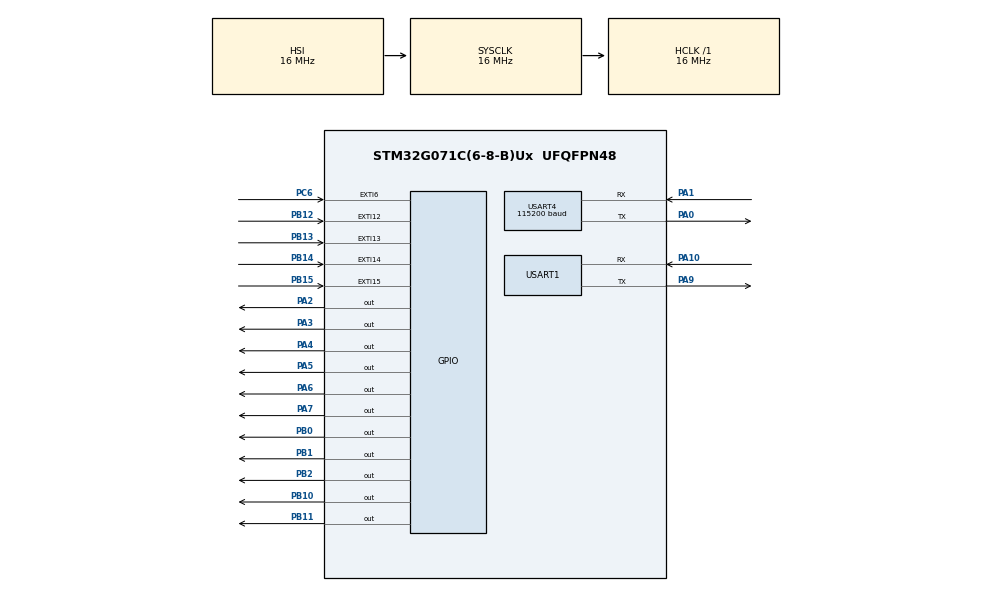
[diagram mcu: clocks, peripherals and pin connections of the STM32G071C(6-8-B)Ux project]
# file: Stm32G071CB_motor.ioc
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Dma.Request0=USART1_RX
Dma.Request1=USART4_RX
Dma.USART1_RX.0.Direction=DMA_PERIPH_TO_MEMORY
Dma.USART1_RX.0.EventEnable=DISABLE
Dma.USART1_RX.0.Instance=DMA1_Channel1
Dma.USART1_RX.0.MemDataAlignment=DMA_MDATAALIGN_BYTE
Dma.USART1_RX.0.MemInc=DMA_MINC_ENABLE
Dma.USART1_RX.0.Mode=DMA_CIRCULAR
Dma.USART1_RX.0.PeriphDataAlignment=DMA_PDATAALIGN_BYTE
Dma.USART1_RX.0.PeriphInc=DMA_PINC_DISABLE
Dma.USART1_RX.0.Polarity=HAL_DMAMUX_REQ_GEN_RISING
Dma.USART1_RX.0.Priority=DMA_PRIORITY_LOW
Dma.USART1_RX.0.RequestNumber=1
Dma.USART1_RX.0.SignalID=NONE
Dma.USART1_RX.0.SyncEnable=DISABLE
Dma.USART1_RX.0.SyncPolarity=HAL_DMAMUX_SYNC_NO_EVENT
Dma.USART1_RX.0.SyncRequestNumber=1
Dma.USART1_RX.0.SyncSignalID=NONE
Dma.USART4_RX.1.Direction=DMA_PERIPH_TO_MEMORY
Dma.USART4_RX.1.EventEnable=DISABLE
Dma.USART4_RX.1.Instance=DMA1_Channel2
Dma.USART4_RX.1.MemDataAlignment=DMA_MDATAALIGN_BYTE
Dma.USART4_RX.1.MemInc=DMA_MINC_ENABLE
Dma.USART4_RX.1.Mode=DMA_CIRCULAR
Dma.USART4_RX.1.PeriphDataAlignment=DMA_PDATAALIGN_BYTE
Dma.USART4_RX.1.PeriphInc=DMA_PINC_DISABLE
Dma.USART4_RX.1.Polarity=HAL_DMAMUX_REQ_GEN_RISING
Dma.USART4_RX.1.Priority=DMA_PRIORITY_LOW
Dma.USART4_RX.1.RequestNumber=1
Dma.USART4_RX.1.SignalID=NONE
Dma.USART4_RX.1.SyncEnable=DISABLE
Dma.USART4_RX.1.SyncPolarity=HAL_DMAMUX_SYNC_NO_EVENT
Dma.USART4_RX.1.SyncRequestNumber=1
Dma.USART4_RX.1.SyncSignalID=NONE
FREERTOS.Tasks01=defaultTask,24,256,StartDefaultTask,Default,NULL,Dynamic,NULL,NULL
Mcu.Family=STM32G0
Mcu.Name=STM32G071C(6-8-B)Ux
Mcu.Package=UFQFPN48
NVIC.DMA1_Channel1_IRQn=true\:3\:0\:false\:false\:true\:false\:true\:true
NVIC.DMA1_Channel2_3_IRQn=true\:3\:0\:false\:false\:true\:false\:true\:true
NVIC.EXTI4_15_IRQn=true\:3\:0\:false\:false\:true\:true\:true\:true
NVIC.TIM6_DAC_LPTIM1_IRQn=true\:0\:0\:false\:false\:true\:false\:false\:true
NVIC.TimeBase=TIM6_DAC_LPTIM1_IRQn
NVIC.TimeBaseIP=TIM6
NVIC.USART1_IRQn=true\:3\:0\:false\:false\:true\:true\:true\:true
NVIC.USART3_4_LPUART1_IRQn=true\:3\:0\:false\:false\:true\:true\:true\:true
PA0.GPIO_PuPd=GPIO_PULLUP
PA0.Mode=Asynchronous
PA0.Signal=USART4_TX
PA1.GPIO_PuPd=GPIO_PULLUP
PA1.Mode=Asynchronous
PA1.Signal=USART4_RX
PA10.Mode=Asynchronous
PA10.Signal=USART1_RX
PA2.GPIO_PuPd=GPIO_PULLDOWN
PA2.Signal=GPIO_Output
PA3.GPIO_PuPd=GPIO_PULLDOWN
PA3.Signal=GPIO_Output
PA4.GPIO_PuPd=GPIO_PULLDOWN
PA4.Signal=GPIO_Output
PA5.GPIO_PuPd=GPIO_PULLDOWN
PA5.Signal=GPIO_Output
PA6.GPIO_PuPd=GPIO_PULLDOWN
PA6.Signal=GPIO_Output
PA7.GPIO_PuPd=GPIO_PULLDOWN
PA7.Signal=GPIO_Output
PA9.Mode=Asynchronous
PA9.Signal=USART1_TX
PB0.GPIO_PuPd=GPIO_PULLDOWN
PB0.Signal=GPIO_Output
PB1.GPIO_PuPd=GPIO_PULLDOWN
PB1.Signal=GPIO_Output
PB10.GPIO_PuPd=GPIO_PULLDOWN
PB10.Signal=GPIO_Output
PB11.GPIO_PuPd=GPIO_PULLDOWN
PB11.Signal=GPIO_Output
PB12.GPIO_PuPd=GPIO_NOPULL
PB12.Signal=GPXTI12
PB13.GPIO_ModeDefaultEXTI=GPIO_MODE_IT_RISING_FALLING
PB13.GPIO_PuPd=GPIO_NOPULL
PB13.Signal=GPXTI13
PB14.GPIO_ModeDefaultEXTI=GPIO_MODE_IT_RISING_FALLING
PB14.GPIO_PuPd=GPIO_NOPULL
PB14.Signal=GPXTI14
PB15.GPIO_ModeDefaultEXTI=GPIO_MODE_IT_RISING_FALLING
PB15.GPIO_PuPd=GPIO_NOPULL
PB15.Signal=GPXTI15
PB2.GPIO_PuPd=GPIO_PULLDOWN
PB2.Signal=GPIO_Output
PC6.GPIO_ModeDefaultEXTI=GPIO_MODE_IT_RISING_FALLING
PC6.GPIO_PuPd=GPIO_NOPULL
PC6.Signal=GPXTI6
ProjectManager.HeapSize=0x200
ProjectManager.StackSize=0x400
ProjectManager.TargetToolchain=MDK-ARM V5
RCC.AHBFreq_Value=16000000
RCC.CortexFreq_Value=16000000
RCC.EXTERNAL_CLOCK_VALUE=48000
RCC.HCLKFreq_Value=16000000
RCC.HSE_VALUE=8000000
RCC.HSI_VALUE=16000000
RCC.LSE_VALUE=32768
RCC.SYSCLKFreq_VALUE=16000000
RCC.VCOOutputFreq_Value=128000000
USART1.VirtualMode-Asynchronous=VM_ASYNC
USART4.BaudRate=115200
USART4.VirtualMode-Asynchronous=VM_ASYNC
VP_FREERTOS_VS_CMSIS_V2.Mode=CMSIS_V2
VP_SYS_VS_DBSignals.Mode=DisableDeadBatterySignals
VP_SYS_VS_tim6.Mode=TIM6
board=custom

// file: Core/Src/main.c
/* USER CODE BEGIN Header */
/**
  ******************************************************************************
  * @file           : main.c
  * @brief          : Main program body
  ******************************************************************************
  * @attention
  *
  * <h2><center>&copy; Copyright (c) 2026 STMicroelectronics.
  * All rights reserved.</center></h2>
  *
  * This software component is licensed by ST under Ultimate Liberty license
  * SLA0044, the "License"; You may not use this file except in compliance with
  * the License. You may obtain a copy of the License at:
  *                             www.st.com/SLA0044
  *
  ******************************************************************************
  */
/* USER CODE END Header */
#include "main.h"
#include "cmsis_os.h"
#include "dma.h"
#include "usart.h"
#include "gpio.h"

void SystemClock_Config(void);
void MX_FREERTOS_Init(void);

int main(void)
{

  /* MCU Configuration--------------------------------------------------------*/

  /* Reset of all peripherals, Initializes the Flash interface and the Systick. */
  HAL_Init();

  /* Configure the system clock */
  SystemClock_Config();

  /* Initialize all configured peripherals */
  MX_GPIO_Init();
  MX_DMA_Init();
  MX_USART1_UART_Init();
  MX_USART4_UART_Init();

  /* Init scheduler */
  osKernelInitialize();  /* Call init function for freertos objects (in freertos.c) */
  MX_FREERTOS_Init();
  /* Start scheduler */
  osKernelStart();

  /* We should never get here as control is now taken by the scheduler */
  /* Infinite loop */
  while (1)
  {

  }
}

void SystemClock_Config(void)
{
  RCC_OscInitTypeDef RCC_OscInitStruct = {0};
  RCC_ClkInitTypeDef RCC_ClkInitStruct = {0};
  RCC_PeriphCLKInitTypeDef PeriphClkInit = {0};

  /** Configure the main internal regulator output voltage
  */
  HAL_PWREx_ControlVoltageScaling(PWR_REGULATOR_VOLTAGE_SCALE1);
  /** Initializes the RCC Oscillators according to the specified parameters
  * in the RCC_OscInitTypeDef structure.
  */
  RCC_OscInitStruct.OscillatorType = RCC_OSCILLATORTYPE_HSI;
  RCC_OscInitStruct.HSIState = RCC_HSI_ON;
  RCC_OscInitStruct.HSIDiv = RCC_HSI_DIV1;
  RCC_OscInitStruct.HSICalibrationValue = RCC_HSICALIBRATION_DEFAULT;
  RCC_OscInitStruct.PLL.PLLState = RCC_PLL_NONE;
  if (HAL_RCC_OscConfig(&RCC_OscInitStruct) != HAL_OK)
  {
    Error_Handler();
  }
  /** Initializes the CPU, AHB and APB buses clocks
  */
  RCC_ClkInitStruct.ClockType = RCC_CLOCKTYPE_HCLK|RCC_CLOCKTYPE_SYSCLK
                              |RCC_CLOCKTYPE_PCLK1;
  RCC_ClkInitStruct.SYSCLKSource = RCC_SYSCLKSOURCE_HSI;
  RCC_ClkInitStruct.AHBCLKDivider = RCC_SYSCLK_DIV1;
  RCC_ClkInitStruct.APB1CLKDivider = RCC_HCLK_DIV1;

  if (HAL_RCC_ClockConfig(&RCC_ClkInitStruct, FLASH_LATENCY_0) != HAL_OK)
  {
    Error_Handler();
  }
  /** Initializes the peripherals clocks
  */
  PeriphClkInit.PeriphClockSelection = RCC_PERIPHCLK_USART1;
  PeriphClkInit.Usart1ClockSelection = RCC_USART1CLKSOURCE_PCLK1;
  if (HAL_RCCEx_PeriphCLKConfig(&PeriphClkInit) != HAL_OK)
  {
    Error_Handler();
  }
}

 /**
  * @brief  Period elapsed callback in non blocking mode
  * @note   This function is called  when TIM6 interrupt took place, inside
  * HAL_TIM_IRQHandler(). It makes a direct call to HAL_IncTick() to increment
  * a global variable "uwTick" used as application time base.
  * @param  htim : TIM handle
  * @retval None
  */
void HAL_TIM_PeriodElapsedCallback(TIM_HandleTypeDef *htim)
{
  if (htim->Instance == TIM6) {
    HAL_IncTick();
  }
}

void Error_Handler(void)
{
  __disable_irq();
  while (1)
  {
  }
}

/************************ (C) COPYRIGHT STMicroelectronics *****END OF FILE****/

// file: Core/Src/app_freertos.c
/* USER CODE BEGIN Header */
/**
  ******************************************************************************
  * File Name          : app_freertos.c
  * Description        : Code for freertos applications
  ******************************************************************************
  * @attention
  *
  * <h2><center>&copy; Copyright (c) 2026 STMicroelectronics.
  * All rights reserved.</center></h2>
  *
  * This software component is licensed by ST under Ultimate Liberty license
  * SLA0044, the "License"; You may not use this file except in compliance with
  * the License. You may obtain a copy of the License at:
  *                             www.st.com/SLA0044
  *
  ******************************************************************************
  */
/* USER CODE END Header */

#include "FreeRTOS.h"
#include "task.h"
#include "main.h"
#include "cmsis_os.h"

/* USER CODE BEGIN Includes */
#include "usart.h"
#include "gpio.h"
#include <string.h>
#include <stdio.h>
#include <stdarg.h>
/* USER CODE END Includes */

/* USER CODE BEGIN PM */

#define SLAVE_A_ID 0x19
#define SLAVE_B_ID 0x1A

#define SLAVE_ID  SLAVE_A_ID

/* Solenoid (电磁�?) */
#define SOLENOID0_PORT      GPIOA
#define SOLENOID0_PIN       GPIO_PIN_3

#define SOLENOID1_PORT      GPIOA
#define SOLENOID1_PIN       GPIO_PIN_2

#define SOLENOID2_PORT      GPIOA
#define SOLENOID2_PIN       GPIO_PIN_5

#define SOLENOID3_PORT      GPIOA
#define SOLENOID3_PIN       GPIO_PIN_6

/* Water Pump (水泵) */
#define WATER_PUMP1_PORT    GPIOA
#define WATER_PUMP1_PIN     GPIO_PIN_7

#define WATER_PUMP2_PORT    GPIOB
#define WATER_PUMP2_PIN     GPIO_PIN_0

/* Micro Pump (蠕动�?) */
#define MICRO_PUMP0_PORT    GPIOB
#define MICRO_PUMP0_PIN     GPIO_PIN_1

#define MICRO_PUMP1_PORT    GPIOB
#define MICRO_PUMP1_PIN     GPIO_PIN_2

#define MICRO_PUMP2_PORT    GPIOB
#define MICRO_PUMP2_PIN     GPIO_PIN_10

#define MICRO_PUMP3_PORT    GPIOB
#define MICRO_PUMP3_PIN     GPIO_PIN_11

/* FAN (风扇) */
#define FAN0_FAN1_PORT      GPIOA
#define FAN0_FAN1_PIN       GPIO_PIN_4

/* Door (门磁) */
#define DOOR_PORT           GPIOB
#define DOOR_PIN            GPIO_PIN_12

/* Pallet (托盘) */
#define PALLET0_PORT        GPIOB
#define PALLET0_PIN         GPIO_PIN_15

#define PALLET1_PORT        GPIOC
#define PALLET1_PIN         GPIO_PIN_6

#define PALLET2_PORT        GPIOB
#define PALLET2_PIN         GPIO_PIN_14

#define PALLET3_PORT        GPIOB
#define PALLET3_PIN         GPIO_PIN_13
/* USER CODE END PM */

/* USER CODE BEGIN Variables */

static volatile uint8_t rx_buf4;

static osMessageQueueId_t modbusRxQueue;
static osSemaphoreId_t    modbusIdleSem;

static uint32_t stat_frames     = 0;
static uint32_t stat_crc_err    = 0;
static uint32_t stat_tx_err     = 0;
static uint32_t stat_uart4_errs = 0;

/* 由 HAL_UART_ErrorCallback（ISR）置位，任务上下文重启 DMA */
static volatile uint8_t  uart4_need_restart    = 0;
/* ISR 保存 HAL 错误码，任务打印时解码（PE/NE/FE/ORE/DMA）*/
static volatile uint32_t uart4_last_error_code = 0;

/* USER CODE END Variables */
/* Definitions for defaultTask */
osThreadId_t defaultTaskHandle;
const osThreadAttr_t defaultTask_attributes = {
  .name = "defaultTask",
  .priority = (osPriority_t) osPriorityNormal,
  .stack_size = 256 * 4
};

/* USER CODE BEGIN FunctionPrototypes */
static void     debug_printf(const char *fmt, ...);
static void     debug_dump_hex(const char *tag, const uint8_t *buf, uint16_t len);
void            Modbus_IdleCallback(void);          /* called from ISR */
static uint16_t Modbus_CRC16(uint8_t *puchMsg, uint16_t usDataLen);
static uint16_t ReadModbusStatus(void);
static void     WriteModbusStatus(uint16_t val);
static void     SendModbusException(uint8_t fc, uint8_t exc);
static void     ProcessModbusFrame(uint8_t *frame, uint16_t len);
/* USER CODE END FunctionPrototypes */

void StartDefaultTask(void *argument);

void MX_FREERTOS_Init(void); /* (MISRA C 2004 rule 8.1) */

void MX_FREERTOS_Init(void) {

  /* Create the thread(s) */
  /* creation of defaultTask */
  defaultTaskHandle = osThreadNew(StartDefaultTask, NULL, &defaultTask_attributes);

}

void StartDefaultTask(void *argument)
{
  /* USER CODE BEGIN StartDefaultTask */

  /* 创建 Modbus 接收队列：32字节，足够容纳115200波特率下帧间切换的积压 */
  modbusRxQueue = osMessageQueueNew(32, sizeof(uint8_t), NULL);
  /* 创建帧结束信号量（二值，初始为0），由 UART4 IDLE 中断释放 */
  modbusIdleSem = osSemaphoreNew(1, 0, NULL);

  /* 启动 DMA 接收，再开启 IDLE 中断 */
  HAL_UART_Receive_DMA(&huart4, (uint8_t *)&rx_buf4, 1);
  __HAL_UART_ENABLE_IT(&huart4, UART_IT_IDLE);

  debug_printf("\r\n[BOOT] Modbus slave 0x%02X ready (UART4 115200 8N1)\r\n", SLAVE_ID);

  uint8_t  rx_frame[128];
  uint16_t rx_len = 0;

  /* Infinite loop */
  for(;;)
  {
    /*
     * 等待 IDLE 信号（硬件帧尾检测，<1ms）或 3ms 超时兜底。
     * 3ms >> 3.5字符时间@115200(~305us)，保证帧间隔判断可靠。
     */
    osSemaphoreAcquire(modbusIdleSem, 3);

    /* 总线设备重启等导致的 UART 帧错误/过载错误恢复 */
    if (uart4_need_restart) {
      uart4_need_restart = 0;
      uint32_t ec = uart4_last_error_code;
      rx_len = 0;
      osMessageQueueReset(modbusRxQueue);
      HAL_UART_Receive_DMA(&huart4, (uint8_t *)&rx_buf4, 1);
      __HAL_UART_ENABLE_IT(&huart4, UART_IT_IDLE);
      debug_printf("[UART4] ERR recovered #%lu: code=0x%02lX%s%s%s%s%s\r\n",
                   stat_uart4_errs, ec,
                   (ec & HAL_UART_ERROR_PE)  ? " PE"  : "",
                   (ec & HAL_UART_ERROR_NE)  ? " NE"  : "",
                   (ec & HAL_UART_ERROR_FE)  ? " FE"  : "",
                   (ec & HAL_UART_ERROR_ORE) ? " ORE" : "",
                   (ec & HAL_UART_ERROR_DMA) ? " DMA" : "");
      continue;
    }

    /* 排空队列，把所有已到达字节收入帧缓冲 */
    uint8_t byte;
    while (osMessageQueueGet(modbusRxQueue, &byte, NULL, 0) == osOK) {
      if (rx_len < sizeof(rx_frame)) {
        rx_frame[rx_len++] = byte;
      }
    }

    if (rx_len == 0) continue;

    if (rx_len >= 8) {
      ProcessModbusFrame(rx_frame, rx_len);
    } else {
      debug_printf("[MODBUS] Short frame %u bytes, discarded\r\n", rx_len);
      debug_dump_hex("[SHORT]", rx_frame, rx_len);
    }
    rx_len = 0;
  }
  /* USER CODE END StartDefaultTask */
}

/* USER CODE BEGIN Application */

/* ------------------- Debug (UART1) ------------------- */
static void debug_printf(const char *fmt, ...)
{
  static char buf[128];
  va_list args;
  va_start(args, fmt);
  int len = vsnprintf(buf, sizeof(buf), fmt, args);
  va_end(args);
  if (len > 0) {
    HAL_UART_Transmit(&huart1, (uint8_t *)buf, (uint16_t)len, 100);
  }
}

/* ------------------- 十六进制帧转储（仅任务上下文）------------------- */
static void debug_dump_hex(const char *tag, const uint8_t *buf, uint16_t len)
{
  char line[96];
  int pos = snprintf(line, sizeof(line), "%s[%u]:", tag, len);
  uint16_t show = (len > 16) ? 16 : len;
  for (uint16_t i = 0; i < show; i++) {
    pos += snprintf(line + pos, sizeof(line) - pos, " %02X", buf[i]);
  }
  if (len > 16) {
    pos += snprintf(line + pos, sizeof(line) - pos, " ..");
  }
  pos += snprintf(line + pos, sizeof(line) - pos, "\r\n");
  HAL_UART_Transmit(&huart1, (uint8_t *)line, (uint16_t)pos, 200);
}

/* ------------------- IDLE 中断回调（从 stm32g0xx_it.c 调用）------------------- */
/* 在 ISR 中释放信号量，通知任务一帧已结束 */
void Modbus_IdleCallback(void)
{
  if (modbusIdleSem != NULL) {
    osSemaphoreRelease(modbusIdleSem);
  }
}

/* ------------------- DMA 字节接收回调 ------------------- */
void HAL_UART_RxCpltCallback(UART_HandleTypeDef *huart)
{
  if (huart->Instance == USART4) {
    if (modbusRxQueue != NULL) {
      osMessageQueuePut(modbusRxQueue, (const void *)&rx_buf4, 0, 0);
    }
  }
}

/* ------------------- UART 错误回调（ISR 上下文）------------------- */
/* 总线上其他设备重启/掉电会产生帧错误(FE)或过载(ORE)，HAL 因此中止 DMA。
 * 这里只置标志并唤醒任务，实际重启在任务上下文中执行，避免在 ISR 里调用 HAL。 */
void HAL_UART_ErrorCallback(UART_HandleTypeDef *huart)
{
  if (huart->Instance == USART4) {
    stat_uart4_errs++;
    uart4_last_error_code = huart->ErrorCode;
    uart4_need_restart = 1;
    if (modbusIdleSem != NULL) {
      osSemaphoreRelease(modbusIdleSem);
    }
  }
}

/* ------------------- GPIO 读写 ------------------- */
static uint16_t ReadModbusStatus(void)
{
  uint16_t s = 0;
  if (HAL_GPIO_ReadPin(WATER_PUMP1_PORT, WATER_PUMP1_PIN) == GPIO_PIN_SET) s |= (1 << 0);
  if (HAL_GPIO_ReadPin(WATER_PUMP2_PORT, WATER_PUMP2_PIN) == GPIO_PIN_SET) s |= (1 << 1);
  if (HAL_GPIO_ReadPin(MICRO_PUMP0_PORT, MICRO_PUMP0_PIN) == GPIO_PIN_SET) s |= (1 << 2);
  if (HAL_GPIO_ReadPin(MICRO_PUMP1_PORT, MICRO_PUMP1_PIN) == GPIO_PIN_SET) s |= (1 << 3);
  if (HAL_GPIO_ReadPin(MICRO_PUMP2_PORT, MICRO_PUMP2_PIN) == GPIO_PIN_SET) s |= (1 << 4);
  if (HAL_GPIO_ReadPin(MICRO_PUMP3_PORT, MICRO_PUMP3_PIN) == GPIO_PIN_SET) s |= (1 << 5);
  if (HAL_GPIO_ReadPin(SOLENOID0_PORT,   SOLENOID0_PIN)   == GPIO_PIN_SET) s |= (1 << 6);
  if (HAL_GPIO_ReadPin(SOLENOID1_PORT,   SOLENOID1_PIN)   == GPIO_PIN_SET) s |= (1 << 7);
  if (HAL_GPIO_ReadPin(SOLENOID2_PORT,   SOLENOID2_PIN)   == GPIO_PIN_SET) s |= (1 << 8);
  if (HAL_GPIO_ReadPin(SOLENOID3_PORT,   SOLENOID3_PIN)   == GPIO_PIN_SET) s |= (1 << 9);
  if (HAL_GPIO_ReadPin(FAN0_FAN1_PORT,   FAN0_FAN1_PIN)   == GPIO_PIN_SET) s |= (1 << 10);
  /* 输入 */
  if (HAL_GPIO_ReadPin(DOOR_PORT,    DOOR_PIN)    == GPIO_PIN_SET) s |= (1 << 11);
  if (HAL_GPIO_ReadPin(PALLET0_PORT, PALLET0_PIN) == GPIO_PIN_SET) s |= (1 << 12);
  if (HAL_GPIO_ReadPin(PALLET1_PORT, PALLET1_PIN) == GPIO_PIN_SET) s |= (1 << 13);
  if (HAL_GPIO_ReadPin(PALLET2_PORT, PALLET2_PIN) == GPIO_PIN_SET) s |= (1 << 14);
  if (HAL_GPIO_ReadPin(PALLET3_PORT, PALLET3_PIN) == GPIO_PIN_SET) s |= (1 << 15);
  return s;
}

static void WriteModbusStatus(uint16_t val)
{
  HAL_GPIO_WritePin(WATER_PUMP1_PORT, WATER_PUMP1_PIN, (val & (1<<0))  ? GPIO_PIN_SET : GPIO_PIN_RESET);
  HAL_GPIO_WritePin(WATER_PUMP2_PORT, WATER_PUMP2_PIN, (val & (1<<1))  ? GPIO_PIN_SET : GPIO_PIN_RESET);
  HAL_GPIO_WritePin(MICRO_PUMP0_PORT, MICRO_PUMP0_PIN, (val & (1<<2))  ? GPIO_PIN_SET : GPIO_PIN_RESET);
  HAL_GPIO_WritePin(MICRO_PUMP1_PORT, MICRO_PUMP1_PIN, (val & (1<<3))  ? GPIO_PIN_SET : GPIO_PIN_RESET);
  HAL_GPIO_WritePin(MICRO_PUMP2_PORT, MICRO_PUMP2_PIN, (val & (1<<4))  ? GPIO_PIN_SET : GPIO_PIN_RESET);
  HAL_GPIO_WritePin(MICRO_PUMP3_PORT, MICRO_PUMP3_PIN, (val & (1<<5))  ? GPIO_PIN_SET : GPIO_PIN_RESET);
  HAL_GPIO_WritePin(SOLENOID0_PORT,   SOLENOID0_PIN,   (val & (1<<6))  ? GPIO_PIN_SET : GPIO_PIN_RESET);
  HAL_GPIO_WritePin(SOLENOID1_PORT,   SOLENOID1_PIN,   (val & (1<<7))  ? GPIO_PIN_SET : GPIO_PIN_RESET);
  HAL_GPIO_WritePin(SOLENOID2_PORT,   SOLENOID2_PIN,   (val & (1<<8))  ? GPIO_PIN_SET : GPIO_PIN_RESET);
  HAL_GPIO_WritePin(SOLENOID3_PORT,   SOLENOID3_PIN,   (val & (1<<9))  ? GPIO_PIN_SET : GPIO_PIN_RESET);
  HAL_GPIO_WritePin(FAN0_FAN1_PORT,   FAN0_FAN1_PIN,   (val & (1<<10)) ? GPIO_PIN_SET : GPIO_PIN_RESET);
}

/* ------------------- CRC16 ------------------- */
static uint16_t Modbus_CRC16(uint8_t *puchMsg, uint16_t usDataLen)
{
  uint16_t wCRCin = 0xFFFF;
  while (usDataLen--) {
    wCRCin ^= *puchMsg++;
    for (int i = 0; i < 8; i++) {
      if (wCRCin & 0x01) { wCRCin = (wCRCin >> 1) ^ 0xA001; }
      else               { wCRCin >>= 1; }
    }
  }
  return wCRCin;
}

/* ------------------- Modbus 异常应答 ------------------- */
static void SendModbusException(uint8_t fc, uint8_t exc)
{
  uint8_t resp[5];
  resp[0] = SLAVE_ID;
  resp[1] = fc | 0x80;
  resp[2] = exc;
  uint16_t crc = Modbus_CRC16(resp, 3);
  resp[3] = crc & 0xFF;
  resp[4] = (crc >> 8) & 0xFF;
  HAL_UART_Transmit(&huart4, resp, 5, 50);
  debug_printf("[MODBUS] Exception FC=0x%02X exc=0x%02X\r\n", fc, exc);
}

/* ------------------- Modbus 帧解析与响应 ------------------- */
static void ProcessModbusFrame(uint8_t *frame, uint16_t len)
{
  stat_frames++;

  /* 1. 从机地址过滤（广播地址 0x00 不回应）*/
  if (frame[0] != SLAVE_ID) return;

  /* 地址匹配：先打印原始帧，便于对比 CRC 和功能码 */
  debug_dump_hex("[RX]", frame, len);

  /* 2. CRC 校验 */
  uint16_t calc_crc = Modbus_CRC16(frame, len - 2);
  uint16_t recv_crc = (uint16_t)(frame[len-2]) | ((uint16_t)(frame[len-1]) << 8);
  if (calc_crc != recv_crc) {
    stat_crc_err++;
    debug_printf("[MODBUS] CRC ERR frame#%lu: got=0x%04X calc=0x%04X len=%u\r\n",
                 stat_frames, recv_crc, calc_crc, len);
    return;
  }

  uint8_t fc = frame[1];

  /* 3. FC 0x06: Write Single Register */
  if (fc == 0x06) {
    uint16_t reg_addr = ((uint16_t)frame[2] << 8) | frame[3];
    uint16_t data     = ((uint16_t)frame[4] << 8) | frame[5];

    if (reg_addr != 0x0000) {
      debug_printf("[MODBUS] FC06 illegal addr=0x%04X\r\n", reg_addr);
      SendModbusException(fc, 0x02); /* Illegal Data Address */
      return;
    }

    WriteModbusStatus(data);

    /* 回显请求帧（Modbus FC06 标准应答） */
    uint8_t resp[8];
    memcpy(resp, frame, 6);
    uint16_t resp_crc = Modbus_CRC16(resp, 6);
    resp[6] = resp_crc & 0xFF;
    resp[7] = (resp_crc >> 8) & 0xFF;
    if (HAL_UART_Transmit(&huart4, resp, 8, 50) != HAL_OK) {
      stat_tx_err++;
      debug_printf("[MODBUS] TX ERR (FC06) total_tx_err=%lu\r\n", stat_tx_err);
    } else {
      debug_printf("[MODBUS] FC06 write 0x%04X ok (frame#%lu)\r\n", data, stat_frames);
      debug_dump_hex("[TX]", resp, 8);
    }
  }
  /* 4. FC 0x04: Read Input Registers */
  else if (fc == 0x04) {
    uint16_t reg_addr = ((uint16_t)frame[2] << 8) | frame[3];
    uint16_t reg_qty  = ((uint16_t)frame[4] << 8) | frame[5];

    if (reg_addr != 0x0000 || reg_qty != 1) {
      debug_printf("[MODBUS] FC04 illegal addr=0x%04X qty=%u\r\n", reg_addr, reg_qty);
      SendModbusException(fc, 0x02); /* Illegal Data Address */
      return;
    }

    uint16_t data = ReadModbusStatus();

    uint8_t resp[7];
    resp[0] = SLAVE_ID;
    resp[1] = 0x04;
    resp[2] = 0x02;
    resp[3] = (data >> 8) & 0xFF;
    resp[4] = data & 0xFF;
    uint16_t resp_crc = Modbus_CRC16(resp, 5);
    resp[5] = resp_crc & 0xFF;
    resp[6] = (resp_crc >> 8) & 0xFF;
    if (HAL_UART_Transmit(&huart4, resp, 7, 50) != HAL_OK) {
      stat_tx_err++;
      debug_printf("[MODBUS] TX ERR (FC04) total_tx_err=%lu\r\n", stat_tx_err);
    } else {
      debug_printf("[MODBUS] FC04 read 0x%04X ok (frame#%lu)\r\n", data, stat_frames);
      debug_dump_hex("[TX]", resp, 7);
    }
  }
  /* 5. 不支持的功能码：返回异常 0x01 Illegal Function */
  else {
    debug_printf("[MODBUS] Illegal FC=0x%02X (frame#%lu)\r\n", fc, stat_frames);
    SendModbusException(fc, 0x01);
  }
}

/* USER CODE END Application */

/************************ (C) COPYRIGHT STMicroelectronics *****END OF FILE****/
